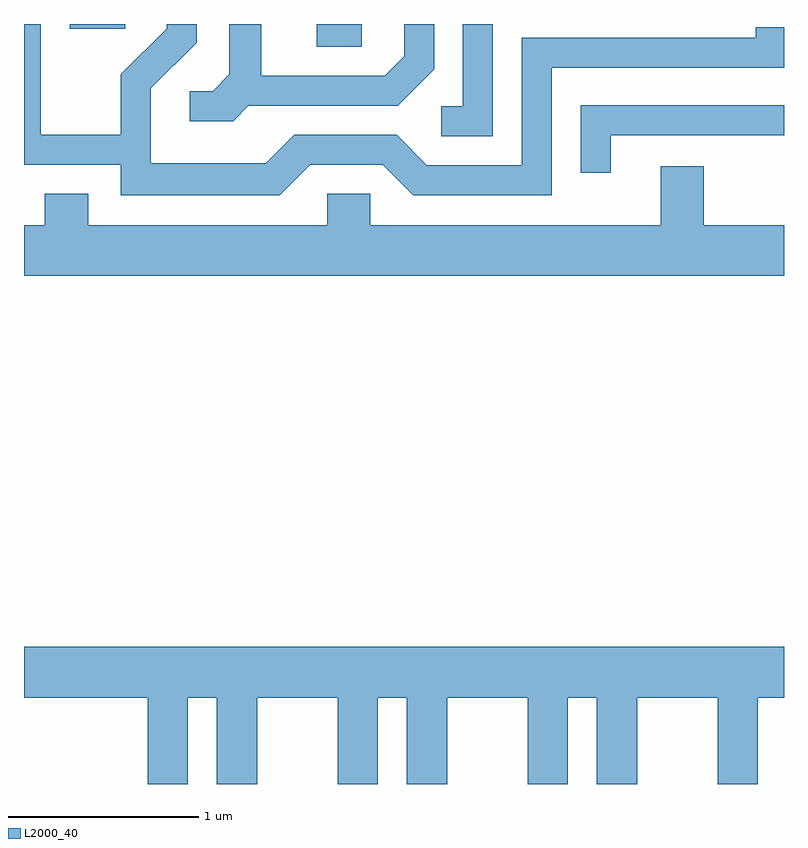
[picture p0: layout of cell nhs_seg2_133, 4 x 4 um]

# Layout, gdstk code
import gdstk
lib = gdstk.Library(unit=1e-6, precision=1e-09)
def R(c, l, rs):  # rectangles x0, y0, x1, y1
    for r in rs: c.add(gdstk.rectangle(r[:2], r[2:], *l))
def P(c, l, *ps):  # polygons
    for p in ps: c.add(gdstk.Polygon(p, *l))
L2000_40 = (2000, 40)

nhs_seg2_133 = lib.new_cell('nhs_seg2_133')
R(nhs_seg2_133, L2000_40, [(189.151,1111.681,189.389,1111.802), (187.851,1111.776,188.144,1111.802)])
P(nhs_seg2_133, L2000_40, [(190.079,1111.802),(189.921,1111.802),(189.921,1111.369),(189.808,1111.369),(189.808,1111.211),(190.079,1111.211)],
  [(188.792,1111.371),(189.577,1111.371),(189.769,1111.564),(189.769,1111.802),(189.611,1111.802),(189.611,1111.632),(189.509,1111.529),(188.859,1111.529),(188.859,1111.802),(188.691,1111.802),(188.691,1111.537),(188.604,1111.449),(188.483,1111.449),(188.483,1111.291),(188.712,1111.291)],
  [(189.117,1111.061),(189.499,1111.061),(189.659,1110.901),(190.389,1110.901),(190.389,1111.571),(191.611,1111.571),(191.611,1111.784),(191.461,1111.784),(191.461,1111.729),(190.231,1111.729),(190.231,1111.059),(189.732,1111.059),(189.572,1111.219),(189.034,1111.219),(188.884,1111.069),(188.279,1111.069),(188.279,1111.464),(188.519,1111.704),(188.519,1111.802),(188.361,1111.802),(188.361,1111.777),(188.121,1111.537),(188.121,1111.219),(187.699,1111.219),(187.699,1111.802),(187.611,1111.802),(187.611,1111.061),(188.121,1111.061),(188.121,1110.901),(188.957,1110.901)],
  [(190.699,1111.216),(191.611,1111.216),(191.611,1111.374),(190.541,1111.374),(190.541,1111.018),(190.699,1111.018)],
  [(191.611,1110.744),(191.189,1110.744),(191.189,1111.054),(190.961,1111.054),(190.961,1110.744),(189.434,1110.744),(189.434,1110.909),(189.206,1110.909),(189.206,1110.744),(187.949,1110.744),(187.949,1110.909),(187.721,1110.909),(187.721,1110.744),(187.611,1110.744),(187.611,1110.476),(191.611,1110.476)],
  [(188.474,1108.256),(188.626,1108.256),(188.626,1107.802),(188.839,1107.802),(188.839,1108.256),(189.261,1108.256),(189.261,1107.802),(189.474,1107.802),(189.474,1108.256),(189.626,1108.256),(189.626,1107.802),(189.839,1107.802),(189.839,1108.256),(190.261,1108.256),(190.261,1107.802),(190.474,1107.802),(190.474,1108.256),(190.626,1108.256),(190.626,1107.802),(190.839,1107.802),(190.839,1108.256),(191.261,1108.256),(191.261,1107.802),(191.474,1107.802),(191.474,1108.256),(191.611,1108.256),(191.611,1108.524),(187.611,1108.524),(187.611,1108.256),(188.261,1108.256),(188.261,1107.802),(188.474,1107.802)])

lib.write_gds('nhs_seg2_133.gds')
